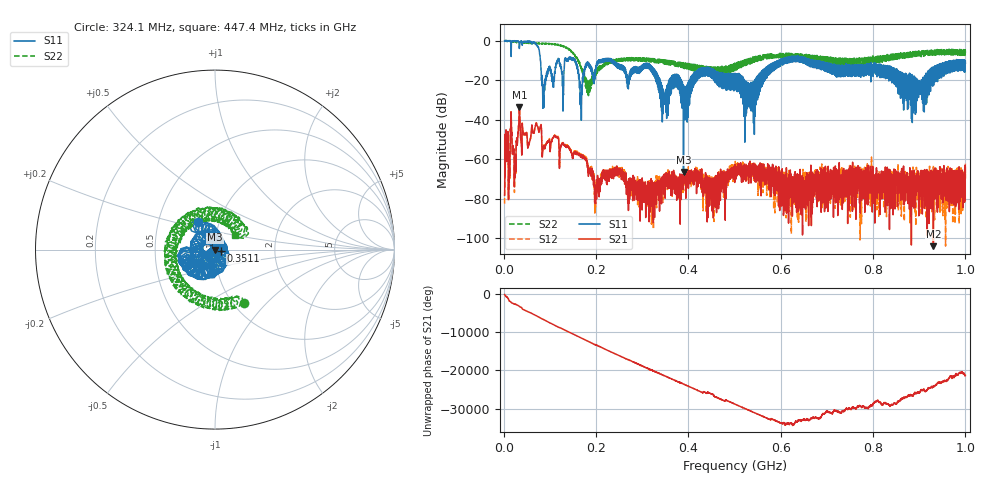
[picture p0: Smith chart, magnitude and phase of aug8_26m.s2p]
!Keysight Technologies N9923A: A.12.45
!Date: Friday, 08 August 2025 17:48:19
!Timezone: (UTC+08:00) Kuala Lumpur, Singapore
!Model: N9923A
!Serial: MY61181427
!GPS Latitude:
!GPS Longitude:
!GPS TimeStamp: 0001-01-01 00:00:00Z
!GPS Seconds Since Last Read: 0
!CHECKSUM:1061753903
!Correction: S11(ON U)S21(ON U)S12(ON U)S22(ON U)
!S2P File: Measurements:S11,S21,S12,S22:
# Hz S DB R 50
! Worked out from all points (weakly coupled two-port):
!   4001 points, 2 MHz to 1 GHz, reference 50 ohm
!   highest |S21| = -33.78 dB at 33.94 MHz (marker M1); lowest = -103.9 dB at 930.6 MHz (marker M2)
!   lowest |S11| = -66.4 dB at 389.5 MHz (marker M3), VSWR 1.00, Z = 50 - j0.0445 ohm
!   |S11| at or under -10 dB: 155.2 MHz to 205.9 MHz (50.71 MHz wide, 28.1 % of centre); 236 MHz to 596.2 MHz (360.1 MHz wide, 86.5 % of centre); 675.7 MHz to 974.3 MHz (298.6 MHz wide, 36.2 % of centre) (the widest 3 of 90)
!   |S22| runs from -27.8 to 0.1 dB; largest |S21 - S12| = 0.0011
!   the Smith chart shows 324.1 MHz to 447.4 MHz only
!   S11 on the Smith chart (normalised r, x): 324.1 MHz: 0.79, +0.25; 351.1 MHz: 1.07, -0.02; 447.4 MHz: 0.75, -0.09
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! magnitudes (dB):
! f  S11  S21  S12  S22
! 2 MHz  -0.1  -78.2  -82.4  0.0
! 33.94 MHz  -4.0  -33.8  -33.8  -0.7
! 72.11 MHz  -2.3  -42.9  -42.8  -1.3
! 86.83 MHz  -33.9  -53.3  -53.4  -1.7
! 145.2 MHz  -8.4  -56.4  -55.5  -5.4
! 168.4 MHz  -35.5  -58.8  -58.1  -13.8
! 183.6 MHz  -11.4  -68.3  -67.6  -27.8
! 200.9 MHz  -12.3  -73.8  -69.9  -14.5
! 239.3 MHz  -10.4  -65.9  -65.7  -10.2
! 324.1 MHz  -14.9  -92.1  -85.2  -9.4
! 334.8 MHz  -19.2  -73.3  -70.2  -11.4
! 351.1 MHz  -29.5  -69.8  -73.1  -10.2
! 372.3 MHz  -17.2  -68.6  -72.8  -11.5
! 389.5 MHz  -66.4  -72.7  -73.4  -11.1
! 447.4 MHz  -16.3  -79.6  -74.0  -17.3
! 501 MHz  -16.5  -62.7  -65.9  -15.1
! 538.2 MHz  -23.8  -66.4  -62.2  -11.4
! 597.8 MHz  -9.8  -85.9  -75.8  -6.4
! 667.4 MHz  -10.2  -87.7  -70.9  -8.3
! 833.8 MHz  -18.6  -73.7  -69.2  -8.2
! 930.6 MHz  -15.2  -103.9  -63.0  -5.4
! 1 GHz  -11.5  -69.4  -62.2  -6.1
